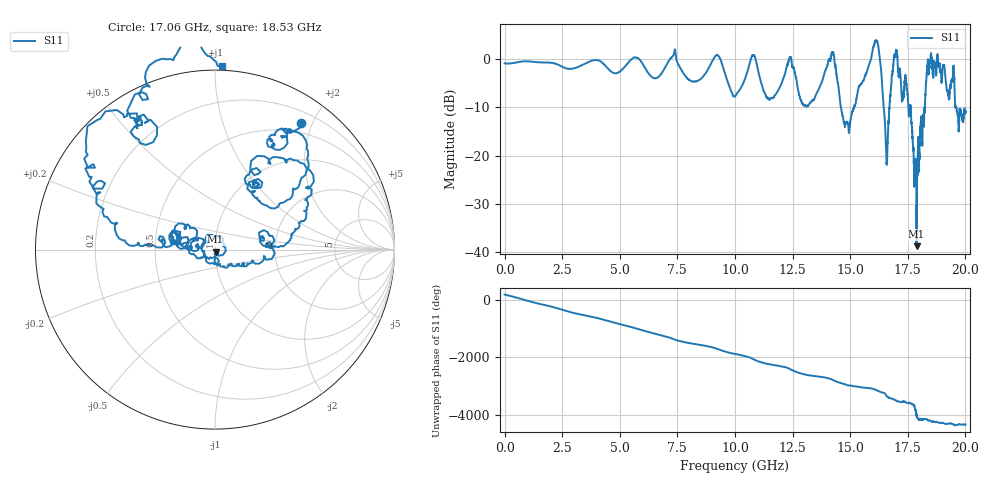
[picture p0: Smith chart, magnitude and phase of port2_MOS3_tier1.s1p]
! Created with skrf 1.8.0 (http://scikit-rf.org).
# GHz S RI R 50.0
!freq ReS11 ImS11
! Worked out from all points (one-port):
!   10001 points, 1 MHz to 20 GHz, reference 50 ohm
!   lowest |S11| = -38.7 dB at 17.88 GHz (marker M1), VSWR 1.02, Z = 50.3 - j1.11 ohm
!   |S11| at or under -10 dB: 14.59 GHz to 15.16 GHz (570.3 MHz wide, 3.83 % of centre); 17.62 GHz to 18.23 GHz (605.1 MHz wide, 3.38 % of centre); 19.6 GHz to end of sweep (the widest 3 of 9)
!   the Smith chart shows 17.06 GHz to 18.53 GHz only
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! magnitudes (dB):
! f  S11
! 1 MHz  -0.9
! 2.501 GHz  -1.6
! 5.001 GHz  -2.6
! 5.707 GHz  0.3
! 6.561 GHz  -4.0
! 7.501 GHz  -0.7
! 8.277 GHz  -4.6
! 9.253 GHz  0.8
! 10 GHz  -7.8
! 10.77 GHz  0.8
! 11.47 GHz  -8.3
! 12.5 GHz  -1.8
! 13.12 GHz  -9.8
! 14.22 GHz  1.2
! 14.69 GHz  -12.2
! 15 GHz  -13.1
! 16.11 GHz  3.8
! 16.28 GHz  0.4
! 16.58 GHz  -21.5
! 16.96 GHz  0.6
! 17.5 GHz  -7.7
! 17.8 GHz  -23.2
! 17.88 GHz  -38.7
! 18.45 GHz  -1.5
! 19.26 GHz  -7.2
! 19.43 GHz  -4.6
! 19.64 GHz  -10.8
! 20 GHz  -10.7
